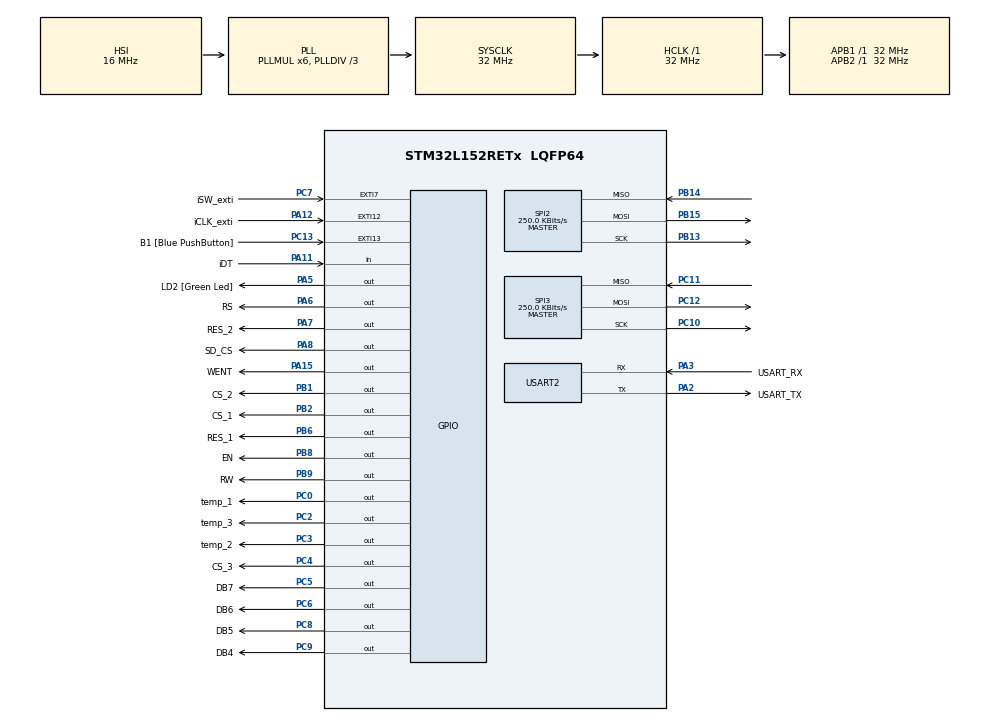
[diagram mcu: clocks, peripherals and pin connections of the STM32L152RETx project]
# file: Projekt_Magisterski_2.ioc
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FATFS._FS_TIMEOUT=100000
Mcu.Family=STM32L1
Mcu.Name=STM32L152RETx
Mcu.Package=LQFP64
NVIC.EXTI15_10_IRQn=true\:0\:0\:false\:false\:true\:true\:true\:true
NVIC.EXTI9_5_IRQn=true\:0\:0\:false\:false\:true\:true\:true\:true
NVIC.PriorityGroup=NVIC_PRIORITYGROUP_0
NVIC.SPI3_IRQn=true\:0\:0\:false\:false\:true\:true\:true\:true
NVIC.TIM2_IRQn=true\:0\:0\:false\:false\:true\:true\:true\:true
NVIC.USART2_IRQn=true\:0\:0\:false\:false\:true\:true\:true\:true
PA11.GPIO_Label=iDT
PA11.GPIO_PuPd=GPIO_PULLDOWN
PA11.Signal=GPIO_Input
PA12.GPIO_Label=iCLK_exti
PA12.GPIO_ModeDefaultEXTI=GPIO_MODE_IT_FALLING
PA12.GPIO_PuPd=GPIO_PULLDOWN
PA12.Signal=GPXTI12
PA13.GPIO_Label=TMS
PA13.Mode=Serial_Wire
PA13.Signal=SYS_JTMS-SWDIO
PA14.GPIO_Label=TCK
PA14.Mode=Serial_Wire
PA14.Signal=SYS_JTCK-SWCLK
PA15.GPIO_Label=WENT
PA15.PinState=GPIO_PIN_SET
PA15.Signal=GPIO_Output
PA2.GPIO_Label=USART_TX
PA2.Mode=Asynchronous
PA2.Signal=USART2_TX
PA3.GPIO_Label=USART_RX
PA3.Mode=Asynchronous
PA3.Signal=USART2_RX
PA5.GPIO_Label=LD2 [Green Led]
PA5.Signal=GPIO_Output
PA6.GPIO_Label=RS
PA6.Signal=GPIO_Output
PA7.GPIO_Label=RES_2
PA7.Signal=GPIO_Output
PA8.GPIO_Label=SD_CS
PA8.GPIO_PuPd=GPIO_NOPULL
PA8.GPIO_Speed=GPIO_SPEED_FREQ_MEDIUM
PA8.PinState=GPIO_PIN_SET
PA8.Signal=GPIO_Output
PB1.GPIO_Label=CS_2
PB1.GPIO_PuPd=GPIO_PULLUP
PB1.GPIO_Speed=GPIO_SPEED_FREQ_MEDIUM
PB1.PinState=GPIO_PIN_SET
PB1.Signal=GPIO_Output
PB13.GPIO_PuPd=GPIO_NOPULL
PB13.GPIO_Speed=GPIO_SPEED_FREQ_MEDIUM
PB13.Mode=Full_Duplex_Master
PB13.Signal=SPI2_SCK
PB14.GPIO_PuPd=GPIO_PULLDOWN
PB14.GPIO_Speed=GPIO_SPEED_FREQ_MEDIUM
PB14.Mode=Full_Duplex_Master
PB14.Signal=SPI2_MISO
PB15.GPIO_PuPd=GPIO_NOPULL
PB15.GPIO_Speed=GPIO_SPEED_FREQ_MEDIUM
PB15.Mode=Full_Duplex_Master
PB15.Signal=SPI2_MOSI
PB2.GPIO_Label=CS_1
PB2.GPIO_PuPd=GPIO_PULLUP
PB2.GPIO_Speed=GPIO_SPEED_FREQ_MEDIUM
PB2.PinState=GPIO_PIN_SET
PB2.Signal=GPIO_Output
PB3.GPIO_Label=SWO
PB3.Signal=SYS_JTDO-TRACESWO
PB6.GPIO_Label=RES_1
PB6.Signal=GPIO_Output
PB8.GPIO_Label=EN
PB8.GPIO_PuPd=GPIO_NOPULL
PB8.Signal=GPIO_Output
PB9.GPIO_Label=RW
PB9.Signal=GPIO_Output
PC0.GPIO_Label=temp_1
PC0.GPIO_ModeDefaultOutputPP=GPIO_MODE_OUTPUT_OD
PC0.GPIO_PuPd=GPIO_NOPULL
PC0.GPIO_Speed=GPIO_SPEED_FREQ_MEDIUM
PC0.PinState=GPIO_PIN_RESET
PC0.Signal=GPIO_Output
PC10.GPIO_Speed=GPIO_SPEED_FREQ_MEDIUM
PC10.Mode=Full_Duplex_Master
PC10.Signal=SPI3_SCK
PC11.GPIO_PuPd=GPIO_PULLUP
PC11.GPIO_Speed=GPIO_SPEED_FREQ_MEDIUM
PC11.Mode=Full_Duplex_Master
PC11.Signal=SPI3_MISO
PC12.GPIO_Speed=GPIO_SPEED_FREQ_MEDIUM
PC12.Mode=Full_Duplex_Master
PC12.Signal=SPI3_MOSI
PC13-WKUP2.GPIO_Label=B1 [Blue PushButton]
PC13-WKUP2.GPIO_ModeDefaultEXTI=GPIO_MODE_IT_FALLING
PC13-WKUP2.Signal=GPXTI13
PC14-OSC32_IN.Mode=LSE-External-Oscillator
PC14-OSC32_IN.Signal=RCC_OSC32_IN
PC15-OSC32_OUT.Mode=LSE-External-Oscillator
PC15-OSC32_OUT.Signal=RCC_OSC32_OUT
PC2.GPIO_Label=temp_3
PC2.GPIO_ModeDefaultOutputPP=GPIO_MODE_OUTPUT_OD
PC2.GPIO_PuPd=GPIO_NOPULL
PC2.GPIO_Speed=GPIO_SPEED_FREQ_MEDIUM
PC2.Signal=GPIO_Output
PC3.GPIO_Label=temp_2
PC3.GPIO_ModeDefaultOutputPP=GPIO_MODE_OUTPUT_OD
PC3.GPIO_PuPd=GPIO_NOPULL
PC3.GPIO_Speed=GPIO_SPEED_FREQ_MEDIUM
PC3.Signal=GPIO_Output
PC4.GPIO_Label=CS_3
PC4.GPIO_PuPd=GPIO_PULLUP
PC4.GPIO_Speed=GPIO_SPEED_FREQ_MEDIUM
PC4.PinState=GPIO_PIN_SET
PC4.Signal=GPIO_Output
PC5.GPIO_Label=DB7
PC5.Signal=GPIO_Output
PC6.GPIO_Label=DB6
PC6.Signal=GPIO_Output
PC7.GPIO_Label=iSW_exti
PC7.GPIO_ModeDefaultEXTI=GPIO_MODE_IT_FALLING
PC7.GPIO_PuPd=GPIO_PULLUP
PC7.Signal=GPXTI7
PC8.GPIO_Label=DB5
PC8.Signal=GPIO_Output
PC9.GPIO_Label=DB4
PC9.Signal=GPIO_Output
PH0-OSC_IN.Mode=HSE-External-Clock-Source
PH0-OSC_IN.Signal=RCC_OSC_IN
PH1-OSC_OUT.Signal=RCC_OSC_OUT
ProjectManager.HeapSize=0x200
ProjectManager.StackSize=0x400
ProjectManager.TargetToolchain=STM32CubeIDE
RCC.48MHZClocksFreq_Value=48000000
RCC.AHBFreq_Value=32000000
RCC.APB1Freq_Value=32000000
RCC.APB1TimFreq_Value=32000000
RCC.APB2Freq_Value=32000000
RCC.APB2TimFreq_Value=32000000
RCC.HCLKFreq_Value=32000000
RCC.HSE_VALUE=8000000
RCC.HSI_VALUE=16000000
RCC.MSI_VALUE=2097000
RCC.PLLDIV=RCC_PLL_DIV3
RCC.PLLMUL=RCC_PLL_MUL6
RCC.RTCClockSelectionVirtual=RCC_RTCCLKSOURCE_LSE
RCC.SYSCLKFreq_VALUE=32000000
RCC.SYSCLKSource=RCC_SYSCLKSOURCE_PLLCLK
RCC.USBOutput=48000000
RCC.VCOOutputFreq_Value=96000000
RTC.Date=26
RTC.Format=RTC_FORMAT_BIN
RTC.Hours=8
RTC.Minutes=16
RTC.Month=RTC_MONTH_APRIL
RTC.Seconds=30
RTC.WakeUpClock-WakeUp=RTC_WAKEUPCLOCK_CK_SPRE_16BITS
RTC.WeekDay=RTC_WEEKDAY_SATURDAY
RTC.Year=25
SPI2.BaudRatePrescaler=SPI_BAUDRATEPRESCALER_128
SPI2.CLKPolarity=SPI_POLARITY_LOW
SPI2.CalculateBaudRate=250.0 KBits/s
SPI2.Direction=SPI_DIRECTION_2LINES
SPI2.Mode=SPI_MODE_MASTER
SPI2.VirtualType=VM_MASTER
SPI3.BaudRatePrescaler=SPI_BAUDRATEPRESCALER_128
SPI3.CalculateBaudRate=250.0 KBits/s
SPI3.Direction=SPI_DIRECTION_2LINES
SPI3.Mode=SPI_MODE_MASTER
SPI3.VirtualType=VM_MASTER
TIM2.Period=99
TIM2.Prescaler=15999
TIM6.Prescaler=31
USART2.VirtualMode=VM_ASYNC
VP_FATFS_VS_Generic.Mode=User_defined
VP_RTC_VS_RTC_Activate.Mode=RTC_Enabled
VP_RTC_VS_RTC_WakeUp_intern.Mode=WakeUp
VP_TIM2_VS_ClockSourceINT.Mode=Internal
VP_TIM6_VS_ClockSourceINT.Mode=Enable_Timer
board=NUCLEO-L152RE

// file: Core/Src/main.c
/* USER CODE BEGIN Header */
/**
  ******************************************************************************
  * @file           : main.c
  * @brief          : Main program body
  ******************************************************************************
  * @attention
  *
  * Copyright (c) 2025 STMicroelectronics.
  * All rights reserved.
  *
  * This software is licensed under terms that can be found in the LICENSE file
  * in the root directory of this software component.
  * If no LICENSE file comes with this software, it is provided AS-IS.
  *
  ******************************************************************************
  */
/* USER CODE END Header */
#include "main.h"
#include "fatfs.h"
#include "rtc.h"
#include "spi.h"
#include "tim.h"
#include "usart.h"
#include "gpio.h"

/* USER CODE BEGIN Includes */
#include "komunikacjaPC2.h"
#include "interface.h"
#include "regulator.h"
#include "mystruct.h"
#include "sd.h"

#include <stdio.h>
#include <string.h>
#include <math.h>
/* USER CODE END Includes */

/* USER CODE BEGIN PD */
#define V_MAX_DAC 	3.251
#define V_DAC 		0.000
/* USER CODE END PD */

/* USER CODE BEGIN PV */
volatile uint8_t timer_flag = 0;
float batteryVoltage = 0.0;
float current = 0.0;
float dac_output = 0.0;
float setpoint = 0.0;
float temperature_1 = 0.0;
float temperature_3 = 0.0;
float parameter = 0.0;
volatile float time_1 = 0.0;
float timeStop1 = 0.0f;
uint8_t onOff1 = 0;
uint8_t logg = 0;

float kp = 0.0;
float ki = 0.0;
float kd = 0.0;

float wire_resist = 0.0f;

uint16_t buffer_length = 0;

uint16_t loggingSpeed;
uint16_t loggingBuffer;
/* USER CODE END PV */

void SystemClock_Config(void);

int main(void)
{

  /* MCU Configuration--------------------------------------------------------*/

  /* Reset of all peripherals, Initializes the Flash interface and the Systick. */

  HAL_Init();

  /* Configure the system clock */
  SystemClock_Config();

  /* Initialize all configured peripherals */
  MX_GPIO_Init();
  MX_USART2_UART_Init();
  MX_RTC_Init();
  MX_TIM2_Init();
  MX_FATFS_Init();
  MX_SPI2_Init();
  MX_TIM6_Init();
  MX_SPI3_Init();
  /* USER CODE BEGIN 2 */
  HAL_UART_Receive_IT(&huart2, &uart_byte, 1);
  HAL_TIM_Base_Start_IT(&htim2);
  HAL_TIM_Base_Start(&htim6);
  createDummyData( &myData);
  lcdInit();
  MCP3561T_1_Init(CS_1_GPIO_Port, CS_1_Pin);
  MCP3561T_2_Init(CS_2_GPIO_Port, CS_2_Pin);
  HAL_GPIO_WritePin(WENT_GPIO_Port, WENT_Pin, GPIO_PIN_SET);

  /* USER CODE END 2 */

  /* Infinite loop */
  /* USER CODE BEGIN WHILE */
  uint16_t sd_idx = 0;
//  uint16_t lcd_idx = 0;
  uint32_t temp_time = 0;
  uint8_t temp_flag = 0;
  float prev_temp= 0.0f;
//  uint32_t prev_time = HAL_GetTick();
  uint16_t speed = 0;
  uint32_t time_base = 0;
  uint8_t prevOnOff = 0;

  while (1)
  {
	  batteryVoltage = getBatteryVoltage();
	  current = getCurrent();
	  dac_output = getDacOutput();
	  setpoint = getSetpoint();
	  temperature_1 = getTemp_1();
	  temperature_3 = getTemp_3();
	  parameter = getParameter();
	  loggingSpeed = getLoggingSpeed();
	  loggingBuffer = getLoggingBufferSize();
	  kp = Kp;
	  ki = Ki;
	  kd = Kd;
	  timeStop1 = timeStop;
	  logg = getLogging();
	  onOff1 = getOnOff();
	  wire_resist = *(float*)&myData.data[43];

	  if (prevOnOff == 0 && getOnOff() == 1) {

		  prevOnOff = 1;
		  time_base = HAL_GetTick();
	  }

	  if (getOnOff() != 1) {
		  prevOnOff = 0;
		  qlmb = 0;
	  }

	  if (timer_flag) {
		  timer_flag = 0;

		  sd_idx += 1;
		  float minutesPassed = timeStop - (float)((HAL_GetTick() - time_base) / (1000.0*60.0));
		  if (minutesPassed < 0) {
			  setOnOff(0);
			  setLogging(0);
		  }
	  }

	  if (getBatteryVoltage() <= 11.0)
		  setOnOff(0);

	  if (qlmb/3600 > 250)
		  setOnOff(0);

	  if (getTemp_1() >= 170 && prev_temp >= 170) {

		  setDacOutput(0);
		  setOnOff(0);
	  }

	  if (temp_flag != 1) {

		  measureTemp_1();
		  measureTemp_3();
		  temp_time = HAL_GetTick();
		  temp_flag = 1;
	  }
	  else if (temp_flag && (HAL_GetTick() - temp_time >= 710)) {

		  temp_flag = 0;
		  setTemp_1();
		  setTemp_3();
	  }
	  prev_temp = getTemp_1();

	  if ((float)((HAL_GetTick() - time_base) / (1000.0*60.0)) < 1.0) {
		  speed = 100;
	  }
	  else {
		  speed = getLoggingSpeed();;
	  }
	  if (sd_idx >= speed/50 && getLogging() == 1) {

		  sd_idx = 0;
		  addDataToBuffer();
	  }

	  lcdCheckForUpdate();
	  checkForData( &myData);

    /* USER CODE END WHILE */

  }
}

void SystemClock_Config(void)
{
  RCC_OscInitTypeDef RCC_OscInitStruct = {0};
  RCC_ClkInitTypeDef RCC_ClkInitStruct = {0};
  RCC_PeriphCLKInitTypeDef PeriphClkInit = {0};

  /** Configure the main internal regulator output voltage
  */
  __HAL_PWR_VOLTAGESCALING_CONFIG(PWR_REGULATOR_VOLTAGE_SCALE1);

  /** Initializes the RCC Oscillators according to the specified parameters
  * in the RCC_OscInitTypeDef structure.
  */
  RCC_OscInitStruct.OscillatorType = RCC_OSCILLATORTYPE_HSI|RCC_OSCILLATORTYPE_LSE;
  RCC_OscInitStruct.LSEState = RCC_LSE_ON;
  RCC_OscInitStruct.HSIState = RCC_HSI_ON;
  RCC_OscInitStruct.HSICalibrationValue = RCC_HSICALIBRATION_DEFAULT;
  RCC_OscInitStruct.PLL.PLLState = RCC_PLL_ON;
  RCC_OscInitStruct.PLL.PLLSource = RCC_PLLSOURCE_HSI;
  RCC_OscInitStruct.PLL.PLLMUL = RCC_PLL_MUL6;
  RCC_OscInitStruct.PLL.PLLDIV = RCC_PLL_DIV3;
  if (HAL_RCC_OscConfig(&RCC_OscInitStruct) != HAL_OK)
  {
    Error_Handler();
  }

  /** Initializes the CPU, AHB and APB buses clocks
  */
  RCC_ClkInitStruct.ClockType = RCC_CLOCKTYPE_HCLK|RCC_CLOCKTYPE_SYSCLK
                              |RCC_CLOCKTYPE_PCLK1|RCC_CLOCKTYPE_PCLK2;
  RCC_ClkInitStruct.SYSCLKSource = RCC_SYSCLKSOURCE_PLLCLK;
  RCC_ClkInitStruct.AHBCLKDivider = RCC_SYSCLK_DIV1;
  RCC_ClkInitStruct.APB1CLKDivider = RCC_HCLK_DIV1;
  RCC_ClkInitStruct.APB2CLKDivider = RCC_HCLK_DIV1;

  if (HAL_RCC_ClockConfig(&RCC_ClkInitStruct, FLASH_LATENCY_1) != HAL_OK)
  {
    Error_Handler();
  }
  PeriphClkInit.PeriphClockSelection = RCC_PERIPHCLK_RTC;
  PeriphClkInit.RTCClockSelection = RCC_RTCCLKSOURCE_LSE;
  if (HAL_RCCEx_PeriphCLKConfig(&PeriphClkInit) != HAL_OK)
  {
    Error_Handler();
  }
}

/* USER CODE BEGIN 4 */
void HAL_TIM_PeriodElapsedCallback(TIM_HandleTypeDef *htim) {

	if (htim->Instance == TIM2) {

        timer_flag = 1;
        setCurrent();
        setBatteryVoltage();
		setParameter();
        regulatorPI();
    }
}

/* USER CODE END 4 */

void Error_Handler(void)
{
  __disable_irq();
  while (1)
  {
  }
}
